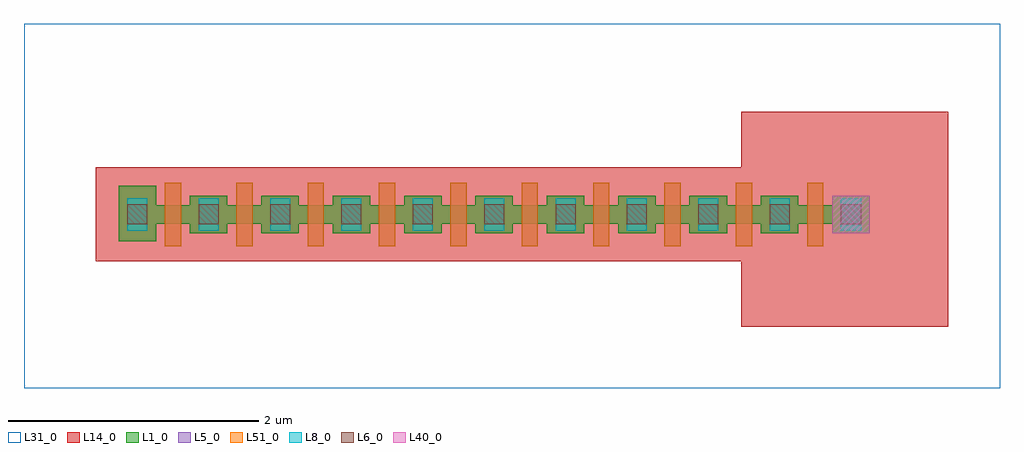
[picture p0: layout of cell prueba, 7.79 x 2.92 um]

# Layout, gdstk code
import gdstk
lib = gdstk.Library(unit=1e-6, precision=5e-09)
def R(c, l, rs):  # rectangles x0, y0, x1, y1
    for r in rs: c.add(gdstk.rectangle(r[:2], r[2:], *l))
def A(c, l, x, y, w, h, nx, ny, dx, dy):  # array of equal rectangles
    R(c, l, [(x+i*dx, y+j*dy, x+i*dx+w, y+j*dy+h) for i in range(nx) for j in range(ny)])
L1_0 = (1, 0)
L5_0 = (5, 0)
L6_0 = (6, 0)
L8_0 = (8, 0)
L14_0 = (14, 0)
L31_0 = (31, 0)
L40_0 = (40, 0)
L51_0 = (51, 0)

pmos = lib.new_cell('pmos')
A(pmos, L1_0, 0, 0, 0.3, 0.3, 11, 1, 0.57, 0)
R(pmos, L1_0, [(0,0.075,6,0.225)])
A(pmos, L5_0, 0.37, -0.105, 0.13, 0.51, 10, 1, 0.57, 0)
R(pmos, L5_0, [(0.37,-0.105,0.5,0.405)])
A(pmos, L6_0, 0.07, 0.07, 0.16, 0.16, 11, 1, 0.57, 0)
A(pmos, L8_0, 0.64, 0.02, 0.16, 0.26, 10, 1, 0.57, 0)
R(pmos, L8_0, [(0.07,0.02,0.23,0.28), (0.07,0.02,0.23,0.28), (0.64,0.02,0.8,0.28)])
R(pmos, L14_0, [(-0.18,-0.225,6.18,0.525)])
R(pmos, L31_0, [(-0.31,-0.31,6.31,0.61)])
R(pmos, L40_0, [(5.7,0,6,0.3)])
A(pmos, L51_0, 0.37, -0.105, 0.13, 0.51, 10, 1, 0.57, 0)
pmos.add(gdstk.Label('pmos', (0.435,0.15), layer=63, texttype=0))
pmos.add(gdstk.Label('pmos', (0.435,0.15), layer=51, texttype=0))
pmos.add(gdstk.Label('pmos', (1.005,0.15), layer=51, texttype=0))
pmos.add(gdstk.Label('pmos', (1.575,0.15), layer=51, texttype=0))
pmos.add(gdstk.Label('pmos', (2.145,0.15), layer=51, texttype=0))
pmos.add(gdstk.Label('pmos', (2.715,0.15), layer=51, texttype=0))
pmos.add(gdstk.Label('pmos', (3.285,0.15), layer=51, texttype=0))
pmos.add(gdstk.Label('pmos', (3.855,0.15), layer=51, texttype=0))
pmos.add(gdstk.Label('pmos', (4.425,0.15), layer=51, texttype=0))
pmos.add(gdstk.Label('pmos', (4.995,0.15), layer=51, texttype=0))
pmos.add(gdstk.Label('pmos', (5.565,0.15), layer=51, texttype=0))

prueba = lib.new_cell('prueba')
R(prueba, L1_0, [(0.31,0.245,0.61,0.69)])
R(prueba, L14_0, [(5.285,-0.435,6.935,1.28)])
R(prueba, L31_0, [(-0.445,-0.93,7.35,1.985)])
prueba.add(gdstk.Reference(pmos, (0.31,0.31)))

lib.write_gds('prueba.gds')
